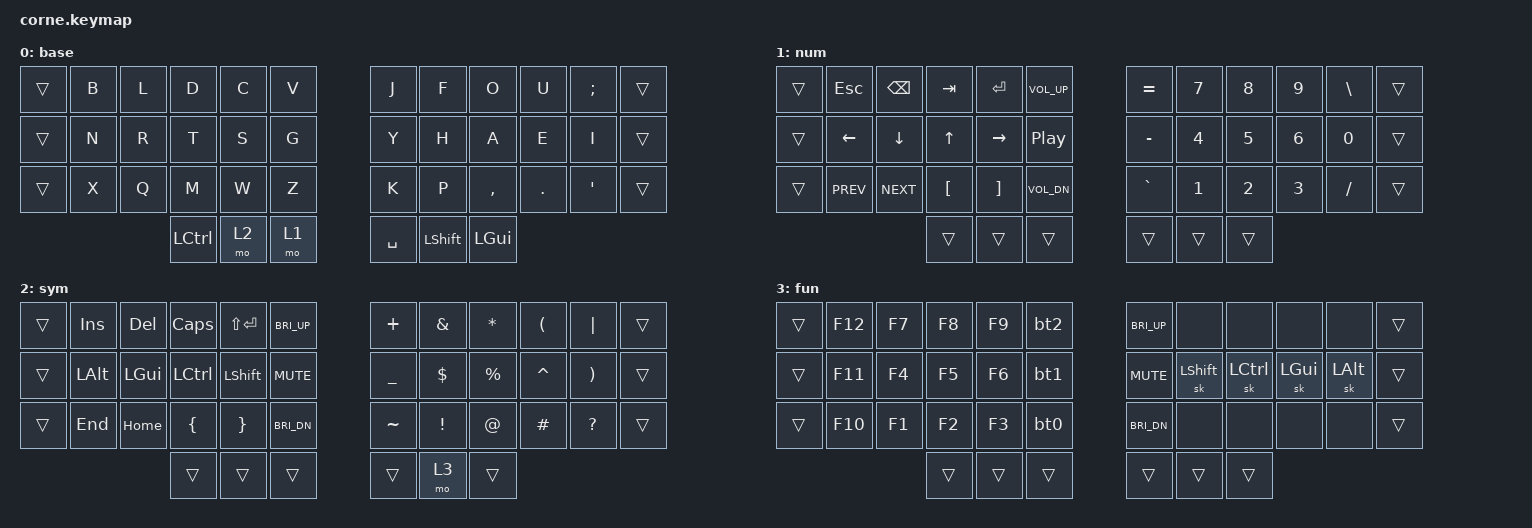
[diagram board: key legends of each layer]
#include <behaviors.dtsi>
#include <dt-bindings/zmk/bt.h>
#include <dt-bindings/zmk/keys.h>

/ {
    combos {
        compatible = "zmk,combos";

        bt3 {
            bindings = <&bt3>;
            key-positions = <17 29>;
            layers = <2>;
        };

        bt4 {
            bindings = <&bt4>;
            key-positions = <5 17>;
            layers = <2>;
        };

        soft_off_right {
            bindings = <&soft_off>;
            key-positions = <9 7 32>;
            layers = <0>;
        };
    };

    macros {
        bt0_clr: bt0_clr {
            compatible = "zmk,behavior-macro";
            #binding-cells = <0>;
            bindings = <&bt BT_SEL 0 &bt BT_CLR>;
            label = "BT0_CLR";
        };

        bt1_clr: bt1_clr {
            compatible = "zmk,behavior-macro";
            #binding-cells = <0>;
            bindings = <&bt BT_SEL 1 &bt BT_CLR>;
            label = "BT1_CLR";
        };

        bt2_clr: bt2_clr {
            compatible = "zmk,behavior-macro";
            #binding-cells = <0>;
            bindings = <&bt BT_SEL 2 &bt BT_CLR>;
            label = "BT2_CLR";
        };

        bt3_clr: bt3_clr {
            compatible = "zmk,behavior-macro";
            #binding-cells = <0>;
            bindings = <&bt BT_SEL 3 &bt BT_CLR>;
            label = "BT3_CLR";
        };

        bt4_clr: bt4_clr {
            compatible = "zmk,behavior-macro";
            #binding-cells = <0>;
            bindings = <&bt BT_SEL 4 &bt BT_CLR>;
            label = "BT4_CLR";
        };
    };

    behaviors {
        bt0: bt0 {
            compatible = "zmk,behavior-mod-morph";
            label = "BT0";
            bindings = <&bt BT_SEL 0>, <&bt0_clr>;

            #binding-cells = <0>;
            mods = <(MOD_LSFT|MOD_RSFT)>;
        };

        bt1: bt1 {
            compatible = "zmk,behavior-mod-morph";
            label = "BT1";
            bindings = <&bt BT_SEL 1>, <&bt1_clr>;

            #binding-cells = <0>;
            mods = <(MOD_LSFT|MOD_RSFT)>;
        };

        bt2: bt2 {
            compatible = "zmk,behavior-mod-morph";
            label = "BT2";
            bindings = <&bt BT_SEL 2>, <&bt2_clr>;

            #binding-cells = <0>;
            mods = <(MOD_LSFT|MOD_RSFT)>;
        };

        bt3: bt3 {
            compatible = "zmk,behavior-mod-morph";
            label = "BT3";
            bindings = <&bt BT_SEL 3>, <&bt3_clr>;

            #binding-cells = <0>;
            mods = <(MOD_LSFT|MOD_RSFT)>;
        };

        bt4: bt4 {
            compatible = "zmk,behavior-mod-morph";
            label = "BT4";
            bindings = <&bt BT_SEL 4>, <&bt4_clr>;

            #binding-cells = <0>;
            mods = <(MOD_LSFT|MOD_RSFT)>;
        };
    };

    keymap {
        compatible = "zmk,keymap";

        base {
            bindings = <
&trans  &kp B  &kp L  &kp D      &kp C  &kp V    &kp J      &kp F      &kp O      &kp U    &kp SEMI  &trans
&trans  &kp N  &kp R  &kp T      &kp S  &kp G    &kp Y      &kp H      &kp A      &kp E    &kp I     &trans
&trans  &kp X  &kp Q  &kp M      &kp W  &kp Z    &kp K      &kp P      &kp COMMA  &kp DOT  &kp SQT   &trans
                      &kp LCTRL  &mo 2  &mo 1    &kp SPACE  &kp LSHFT  &kp LGUI
            >;
        };

        num {
            bindings = <
&trans  &kp ESC     &kp BACKSPACE  &kp TAB   &kp ENTER  &kp C_VOL_UP    &kp EQUAL  &kp N7  &kp N8  &kp N9  &kp BACKSLASH  &trans
&trans  &kp LEFT    &kp DOWN       &kp UP    &kp RIGHT  &kp C_PP        &kp MINUS  &kp N4  &kp N5  &kp N6  &kp N0         &trans
&trans  &kp C_PREV  &kp C_NEXT     &kp LBKT  &kp RBKT   &kp C_VOL_DN    &kp GRAVE  &kp N1  &kp N2  &kp N3  &kp FSLH       &trans
                                   &trans    &trans     &trans          &trans     &trans  &trans
            >;
        };

        sym {
            bindings = <
&trans  &kp INS   &kp DEL   &kp CAPS   &kp LS(ENTER)  &kp C_BRI_UP    &kp PLUS   &kp AMPS  &kp STAR   &kp LPAR   &kp PIPE   &trans
&trans  &kp LALT  &kp LGUI  &kp LCTRL  &kp LSHFT      &kp C_MUTE      &kp UNDER  &kp DLLR  &kp PRCNT  &kp CARET  &kp RPAR   &trans
&trans  &kp END   &kp HOME  &kp LBRC   &kp RBRC       &kp C_BRI_DN    &kp TILDE  &kp EXCL  &kp AT     &kp HASH   &kp QMARK  &trans
                            &trans     &trans         &trans          &trans     &mo 3     &trans
            >;
        };

        fun {
            bindings = <
&trans  &kp F12  &kp F7  &kp F8  &kp F9  &bt2      &kp C_BRI_UP  &none      &none      &none     &none     &trans
&trans  &kp F11  &kp F4  &kp F5  &kp F6  &bt1      &kp C_MUTE    &sk LSHFT  &sk LCTRL  &sk LGUI  &sk LALT  &trans
&trans  &kp F10  &kp F1  &kp F2  &kp F3  &bt0      &kp C_BRI_DN  &none      &none      &none     &none     &trans
                         &trans  &trans  &trans    &trans        &trans     &trans
            >;
        };
    };
};
